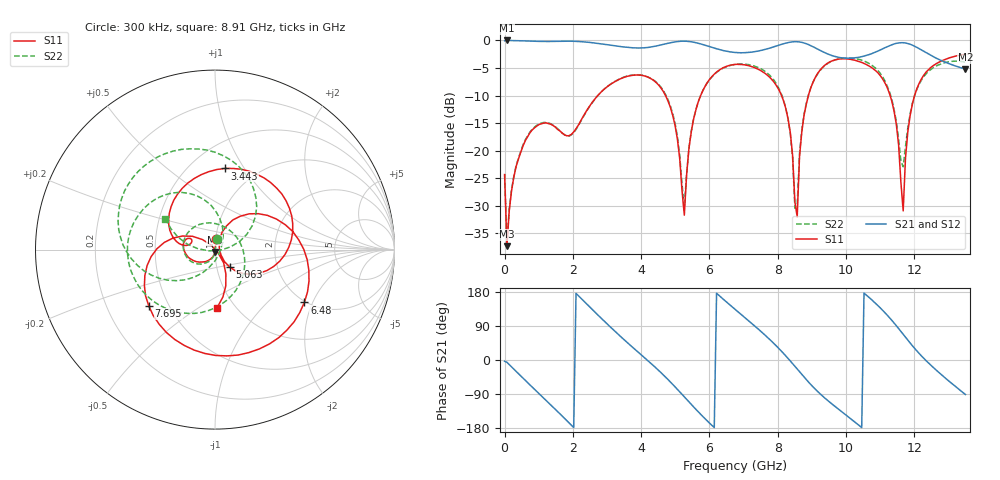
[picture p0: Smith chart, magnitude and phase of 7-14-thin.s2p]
!Agilent Technologies,N5230C,MY48100320,A.08.04.10
!Agilent N5230C: A.08.04.10
!Date: Friday, July 15, 2016 04:12:40
!Correction: S11(Full 2 Port(1,2))
!S21(Full 2 Port(1,2))
!S12(Full 2 Port(1,2))
!S22(Full 2 Port(1,2))
!S2P File: Measurements: S11, S21, S12, S22:
# Hz S  dB  R 50
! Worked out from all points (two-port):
!   201 points, 300 kHz to 13.5 GHz, reference 50 ohm
!   highest |S21| = -0.01 dB at 67.8 MHz (marker M1); lowest = -5.2 dB at 13.5 GHz (marker M2)
!   |S21| within 3 dB of the highest: start of sweep to 9.741 GHz; 10.42 GHz to 12.58 GHz (2.161 GHz wide, 18.8 % of centre)
!   lowest |S11| = -37.3 dB at 67.8 MHz (marker M3), VSWR 1.03, Z = 49.9 - j1.36 ohm
!   |S11| at or under -10 dB: start of sweep to 2.729 GHz; 4.715 GHz to 5.744 GHz (1.029 GHz wide, 19.7 % of centre); 8.114 GHz to 8.901 GHz (787.4 MHz wide, 9.26 % of centre)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
!   |S22| runs from -36.5 to -3.2 dB; largest |S21 - S12| = 0.0065
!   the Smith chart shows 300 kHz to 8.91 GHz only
!   S11 on the Smith chart (normalised r, x): 300 kHz: 1.01, +0.12; 3.443 GHz: 0.72, +0.83; 5.063 GHz: 1.15, -0.23; 6.48 GHz: 1.97, -1.74; 7.695 GHz: 0.39, -0.32; 8.91 GHz: 0.83, -0.60
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300000  -24.33 83.3  -0.07 -3.4  -0.04 -3.7  -24.28 80.5
6.77985e7  -37.30 -93.6  -0.01 -6.0  -0.02 -6.1  -36.50 -92.1
3.377925e8  -22.85 -122.2  -0.05 -30.0  -0.04 -30.1  -22.69 -116.6
1.147774e9  -14.98 172.4  -0.19 -100.8  -0.19 -100.7  -14.87 165.4
2.295249e9  -13.86 170.5  -0.25 157.6  -0.25 157.6  -13.98 -35.8
3.442724e9  -6.83 82.9  -1.16 58.3  -1.15 58.3  -6.79 -145.5
4.5227e9  -8.17 -4.1  -0.91 -28.3  -0.91 -28.3  -8.05 127.2
5.062688e9  -17.90 -49.9  -0.22 -77.4  -0.21 -77.4  -17.41 72.1
5.265183e9  -31.67 25.8  -0.14 -97.2  -0.14 -97.2  -30.30 -34.1
5.602676e9  -12.64 52.8  -0.41 -130.0  -0.41 -130.1  -12.56 -134.5
6.480156e9  -4.76 -30.6  -1.93 154.6  -1.94 154.6  -4.82 159.4
6.75015e9  -4.35 -54.2  -2.19 133.9  -2.19 133.9  -4.36 142.8
7.695129e9  -6.29 -139.5  -1.53 60.2  -1.54 60.3  -5.92 79.7
8.302616e9  -14.15 157.3  -0.40 4.4  -0.39 4.4  -14.15 25.5
8.57261e9  -31.98 -46.9  -0.24 -23.8  -0.24 -23.8  -29.80 -167.8
8.910102e9  -9.77 -87.9  -0.78 -58.9  -0.78 -58.9  -9.72 148.0
9.045099e9  -7.46 -101.0  -1.18 -71.8  -1.17 -71.8  -7.46 135.4
1.005758e10  -3.37 173.6  -3.23 -149.0  -3.23 -149.0  -3.18 69.4
1.127255e10  -9.58 54.6  -0.97 112.1  -0.98 112.1  -9.23 -16.4
1.167754e10  -30.90 133.3  -0.42 67.7  -0.42 67.6  -22.91 -156.7
1.208253e10  -8.69 136.2  -1.28 23.5  -1.29 23.5  -8.78 93.6
1.35e10  -2.51 11.7  -5.22 -91.0  -5.22 -91.1  -3.96 -29.9
